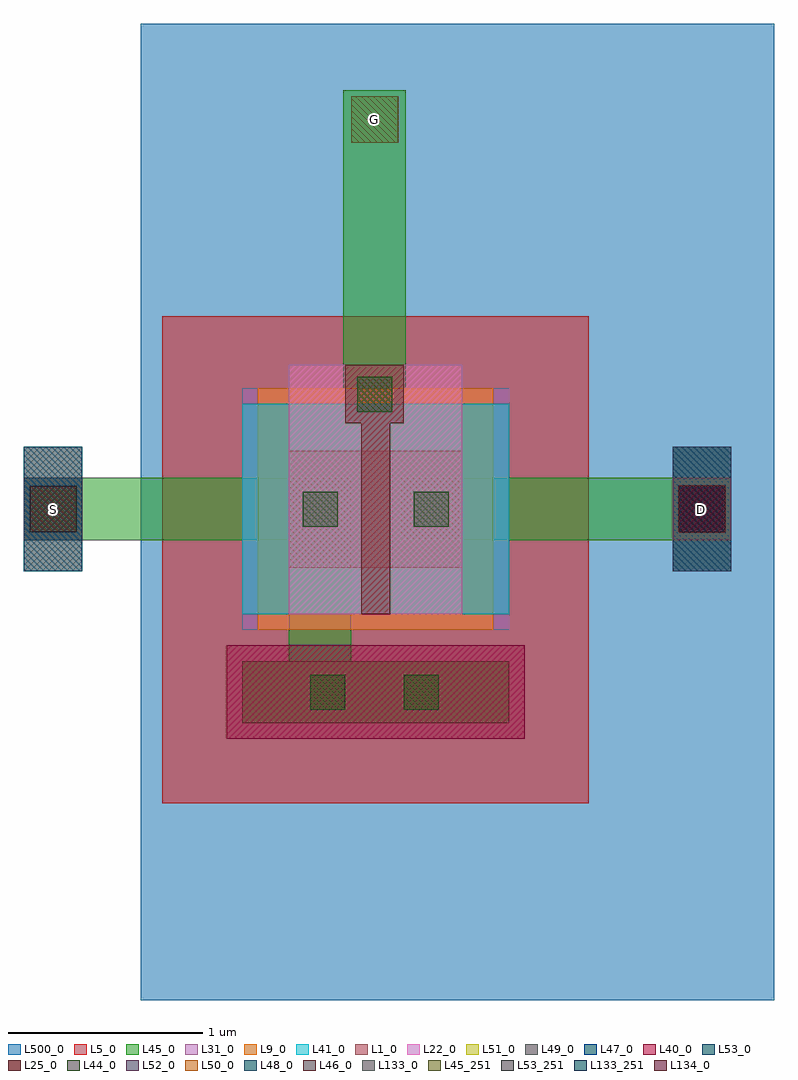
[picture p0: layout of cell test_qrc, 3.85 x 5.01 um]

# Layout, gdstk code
import gdstk
lib = gdstk.Library(unit=1e-6, precision=1e-09)
def R(c, l, rs):  # rectangles x0, y0, x1, y1
    for r in rs: c.add(gdstk.rectangle(r[:2], r[2:], *l))
L1_0 = (1, 0)
L5_0 = (5, 0)
L9_0 = (9, 0)
L22_0 = (22, 0)
L25_0 = (25, 0)
L31_0 = (31, 0)
L40_0 = (40, 0)
L41_0 = (41, 0)
L44_0 = (44, 0)
L45_0 = (45, 0)
L45_251 = (45, 251)
L46_0 = (46, 0)
L47_0 = (47, 0)
L48_0 = (48, 0)
L49_0 = (49, 0)
L50_0 = (50, 0)
L51_0 = (51, 0)
L52_0 = (52, 0)
L53_0 = (53, 0)
L53_251 = (53, 251)
L133_0 = (133, 0)
L133_251 = (133, 251)
L134_0 = (134, 0)
L500_0 = (500, 0)

abutcontact__8 = lib.new_cell('AbutContact$$8')
R(abutcontact__8, L1_0, [(-0.05,-0.03,1.32,0.29)])
R(abutcontact__8, L44_0, [(0.3,0.04,0.48,0.22), (0.78,0.04,0.96,0.22)])
R(abutcontact__8, L45_0, [(-0.05,-0.03,1.32,0.29)])

nmos_hs_4__7 = lib.new_cell('nmos_hs_4$$7')
R(nmos_hs_4__7, L1_0, [(-0.37,0,0,0.6), (0,0,0.15,0.6), (0.15,0,0.52,0.6), (-0.37,0.14,-0.05,0.46), (0.2,0.14,0.52,0.46)])
R(nmos_hs_4__7, L5_0, [(-1.02,-1.21,1.17,1.29), (-0.77,-0.96,0.92,0.92)])
R(nmos_hs_4__7, L9_0, [(-0.53,-0.32,0.68,0.92)])
R(nmos_hs_4__7, L22_0, [(-0.37,-0.24,0.52,1.04)])
R(nmos_hs_4__7, L25_0, [(0,-0.24,0.15,0), (0,-0.24,0.15,0.84), (0,0.6,0.15,0.84), (-0.08,0.74,0.22,1.04), (-0.08,0.74,0.22,1.04)])
R(nmos_hs_4__7, L31_0, [(-0.61,-0.32,0.76,0.92)])
R(nmos_hs_4__7, L40_0, [(-0.69,-0.88,0.84,-0.4)])
R(nmos_hs_4__7, L41_0, [(-0.61,-0.24,0.76,0.84)])
R(nmos_hs_4__7, L44_0, [(-0.3,0.21,-0.12,0.39), (0.27,0.21,0.45,0.39), (-0.02,0.8,0.16,0.98)])
R(nmos_hs_4__7, L45_0, [(-0.61,-0.8,0.76,-0.48), (-0.37,0.14,-0.05,0.46), (0.2,0.14,0.52,0.46), (-0.06,0.77,0.2,1.01)])
nmos_hs_4__7.add(gdstk.Reference(abutcontact__8, (-0.56,-0.77)))

m4_m5__1 = lib.new_cell('M4_M5$$1')
R(m4_m5__1, L51_0, [(-0.15,-0.32,0.15,0.32)])
R(m4_m5__1, L52_0, [(-0.12,-0.12,0.12,0.12)])
R(m4_m5__1, L53_0, [(-0.15,-0.16,0.15,0.16)])

m3_m4__2 = lib.new_cell('M3_M4$$2')
R(m3_m4__2, L49_0, [(-0.15,-0.32,0.15,0.32)])
R(m3_m4__2, L50_0, [(-0.12,-0.12,0.12,0.12)])
R(m3_m4__2, L51_0, [(-0.15,-0.32,0.15,0.32)])

m2_m3__3 = lib.new_cell('M2_M3$$3')
R(m2_m3__3, L47_0, [(-0.15,-0.32,0.15,0.32)])
R(m2_m3__3, L48_0, [(-0.12,-0.12,0.12,0.12)])
R(m2_m3__3, L49_0, [(-0.15,-0.32,0.15,0.32)])

m1_m2__4 = lib.new_cell('M1_M2$$4')
R(m1_m2__4, L45_0, [(-0.15,-0.16,0.15,0.16)])
R(m1_m2__4, L46_0, [(-0.12,-0.12,0.12,0.12)])
R(m1_m2__4, L47_0, [(-0.15,-0.32,0.15,0.32)])

m5_m1_top__5 = lib.new_cell('M5_M1_top$$5')
R(m5_m1_top__5, L53_0, [(-0.15,-0.32,0.15,0.32)])
R(m5_m1_top__5, L133_0, [(-0.15,-0.16,0.15,0.16)])
R(m5_m1_top__5, L134_0, [(-0.12,-0.12,0.12,0.12)])

m4_m5__6 = lib.new_cell('M4_M5$$6')
R(m4_m5__6, L51_0, [(-0.15,-0.32,0.15,0.32)])
R(m4_m5__6, L52_0, [(-0.12,-0.12,0.12,0.12)])
R(m4_m5__6, L53_0, [(-0.15,-0.32,0.15,0.32)])

test_qrc = lib.new_cell('test_qrc')
R(test_qrc, L45_0, [(2.13,1.49,2.45,2.75), (0.77,2.43,2.45,2.75), (2.7,2.43,4.38,2.75), (2.41,3.06,2.73,4.74)])
R(test_qrc, L45_251, [(2.45,4.47,2.69,4.71)])
R(test_qrc, L53_251, [(0.8,2.47,1.04,2.71)])
R(test_qrc, L133_251, [(4.13,2.47,4.37,2.71)])
R(test_qrc, L500_0, [(1.37,0.07,4.62,5.08)])
test_qrc.add(gdstk.Reference(nmos_hs_4__7, (2.5,2.29)))
test_qrc.add(gdstk.Reference(m4_m5__1, (0.92,2.59)))
test_qrc.add(gdstk.Reference(m3_m4__2, (4.25,2.59)))
test_qrc.add(gdstk.Reference(m3_m4__2, (0.92,2.59)))
test_qrc.add(gdstk.Reference(m2_m3__3, (4.25,2.59)))
test_qrc.add(gdstk.Reference(m2_m3__3, (0.92,2.59)))
test_qrc.add(gdstk.Reference(m1_m2__4, (4.25,2.59)))
test_qrc.add(gdstk.Reference(m1_m2__4, (0.92,2.59)))
test_qrc.add(gdstk.Reference(m5_m1_top__5, (4.25,2.59)))
test_qrc.add(gdstk.Reference(m4_m5__6, (4.25,2.59)))
test_qrc.add(gdstk.Label('G', (2.57,4.59), layer=45, texttype=251))
test_qrc.add(gdstk.Label('S', (0.92,2.59), layer=53, texttype=251))
test_qrc.add(gdstk.Label('D', (4.25,2.59), layer=133, texttype=251))

lib.write_gds('test_qrc.gds')
